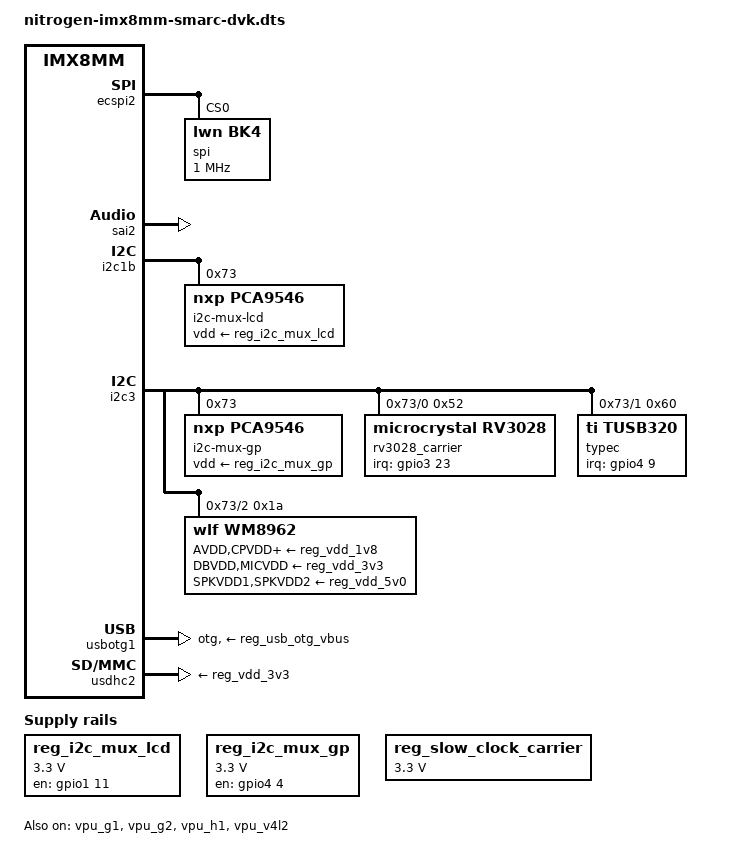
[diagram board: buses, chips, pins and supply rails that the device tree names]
// SPDX-License-Identifier: (GPL-2.0+ OR MIT)
/*
 * Copyright 2026 Ezurio LLC
 */

/dts-v1/;

#include "nitrogen-imx8mm-smarc.dtsi"

/ {
	aliases {
		rtc2 = &rv3028_carrier;
	};

	reg_i2c_mux_lcd: regulator-i2c-mux-lcd {
		compatible = "regulator-fixed";

		regulator-name = "reg_i2c_mux_lcd";
		regulator-min-microvolt = <3300000>;
		regulator-max-microvolt = <3300000>;

		pinctrl-names = "default";
		pinctrl-0 = <&pinctrl_i2c_mux_lcd>;
		gpio = <&gpio1 11 GPIO_ACTIVE_HIGH>;
		enable-active-high;
	};

	reg_i2c_mux_gp: regulator-i2c-mux-gp {
		compatible = "regulator-fixed";

		regulator-name = "reg_i2c_mux_gp";
		regulator-min-microvolt = <3300000>;
		regulator-max-microvolt = <3300000>;

		pinctrl-names = "default";
		pinctrl-0 = <&pinctrl_i2c_mux_gp>;
		gpio = <&gpio4 4 GPIO_ACTIVE_HIGH>;
		enable-active-high;
	};

	reg_slow_clock_carrier: regulator-slow-clock-carrier {
		compatible = "regulator-fixed-clock";

		regulator-name = "reg_slow_clock_carrier";
		regulator-min-microvolt = <3300000>;
		regulator-max-microvolt = <3300000>;

		clocks = <&rv3028_carrier>;

		startup-delay-us = <1000>;
	};

	sound-wm8962 {
		compatible = "fsl,imx-audio-wm8962";
		audio-codec = <&wm8962>;
		audio-cpu = <&sai2>;
		audio-routing =
			"Headphone Jack", "HPOUTL",
			"Headphone Jack", "HPOUTR",
			"Ext Spk", "SPKOUTL",
			"Ext Spk", "SPKOUTR",
			"AMIC", "MICBIAS",
			"IN1R", "AMIC",
			"IN2R", "AMIC",
			"IN3L", "AMIC",
			"IN3R", "AMIC";
		codec-master;
		model = "wm8962-audio";
	};
};

&ecspi2 {
	status = "okay";

	spi@0 {
		reg = <0>;
		compatible = "lwn,bk4";
		spi-max-frequency = <1000000>;
	};
};

&sai2 {
	status = "okay";
};

&i2c1b {
	status = "okay";

	i2c-mux-lcd@73 {
		compatible = "nxp,pca9546";
		reg = <0x73>;

		vdd-supply = <&reg_i2c_mux_lcd>;

		#address-cells = <1>;
		#size-cells = <0>;

		i2c_lcd_a: i2c1b@0 {
			/* EDP0 */
			reg = <0>;

			#address-cells = <1>;
			#size-cells = <0>;
		};

		i2c_lcd_b: i2c1b@1 {
			/* EDP1 */
			reg = <1>;

			#address-cells = <1>;
			#size-cells = <0>;
		};

		i2c_lcd_c: i2c1b@2 {
			/* DSI0 */
			reg = <2>;

			#address-cells = <1>;
			#size-cells = <0>;
		};

		i2c_lcd_d: i2c1b@3 {
			/* DSI1 */
			reg = <3>;

			#address-cells = <1>;
			#size-cells = <0>;
		};
	};
};

&i2c3 {
	status = "okay";

	i2c-mux-gp@73 {
		compatible = "nxp,pca9546";
		reg = <0x73>;

		vdd-supply = <&reg_i2c_mux_gp>;

		#address-cells = <1>;
		#size-cells = <0>;

		i2c_gp_a: i2c-mux-gp@0 {
			/* RTC */
			reg = <0>;

			#address-cells = <1>;
			#size-cells = <0>;

			rv3028_carrier: rv3028-carrier@52 {
				compatible = "microcrystal,rv3028";
				reg = <0x52>;

				backup-switchover-dsm;
				#clock-cells = <0>;

				pinctrl-names = "default";
				pinctrl-0 = <&pinctrl_rv3028_carrier>;
				interrupts-extended = <&gpio3 23 IRQ_TYPE_LEVEL_LOW>;
				wakeup-source;
			};
		};

		i2c_gp_b: i2c-mux-gp@1 {
			/* USB C */
			reg = <1>;

			#address-cells = <1>;
			#size-cells = <0>;

			typec: typec@60 {
				compatible = "ti,tusb320";
				reg = <0x60>;
				pinctrl-names = "default";
				pinctrl-0 = <&pinctrl_tusb320>;
				interrupts-extended = <&gpio4 9 IRQ_TYPE_LEVEL_LOW>;
			};
		};

		i2c_gp_c: i2c-mux-gp@2 {
			/* audio */
			reg = <2>;

			#address-cells = <1>;
			#size-cells = <0>;

			wm8962: codec@1a {
				#sound-dai-cells = <0>;
				AVDD-supply = <&reg_vdd_1v8>;
				CPVDD-supply = <&reg_vdd_1v8>;
				DBVDD-supply = <&reg_vdd_3v3>;
				DCVDD-supply = <&reg_vdd_1v8>;
				MICVDD-supply = <&reg_vdd_3v3>;
				PLLVDD-supply = <&reg_vdd_1v8>;
				SPKVDD1-supply = <&reg_vdd_5v0>;
				SPKVDD2-supply = <&reg_vdd_5v0>;
				clocks = <&clk IMX8MM_CLK_SAI2_ROOT>;
				compatible = "wlf,wm8962";
				gpio-cfg = <
					0x0000 /* n/c */
					0x0000 /* gpio2: */
					0x0000 /* gpio3: */
					0x0000 /* n/c */
					0x8081 /* gpio5:HP detect */
					0x8095 /* gpio6:Mic detect */
				>;
				reg = <0x1a>;
			};
		};

		i2c_gp_d: i2c-mux-gp@3 {
			/* pcie */
			reg = <3>;

			#address-cells = <1>;
			#size-cells = <0>;
		};
	};
};

&iomuxc {
	pinctrl_tusb320: tusb320grp {
		fsl,pins = <
			MX8MM_IOMUXC_SAI1_RXD7_GPIO4_IO9	0x1c0
		>;
	};

	pinctrl_i2c_mux_lcd: i2c-mux-lcdgrp {
		fsl,pins = <
			MX8MM_IOMUXC_GPIO1_IO11_GPIO1_IO11	0x140
		>;
	};

	pinctrl_i2c_mux_gp: i2c-mux-gpgrp {
		fsl,pins = <
			MX8MM_IOMUXC_SAI1_RXD2_GPIO4_IO4	0x140
		>;
	};

	pinctrl_rv3028_carrier: rv3028-carriergrp {
		fsl,pins = <
			MX8MM_IOMUXC_SAI5_RXD2_GPIO3_IO23	0x1c0
		>;
	};
};

&usbotg1 {
	dr_mode = "otg";
	disable-over-current;
	usb-role-switch;
	vbus-supply = <&reg_usb_otg_vbus>;
	status = "okay";

	extcon = <&typec>, <&typec>;
};

&usdhc2 { /* SDIO - SDCARD */
	status = "okay";

	vmmc-supply = <&reg_vdd_3v3>;

	// SD card power on the carrier board is not connected to control signal, 
	// as such SD card cannot be reset, thus disabling 1.8V
	no-1-8-v;
};

&vpu_g1 {
	status = "okay";
};

&vpu_g2 {
	status = "okay";
};

&vpu_h1 {
	status = "okay";
};

&vpu_v4l2 {
	status = "okay";
};
